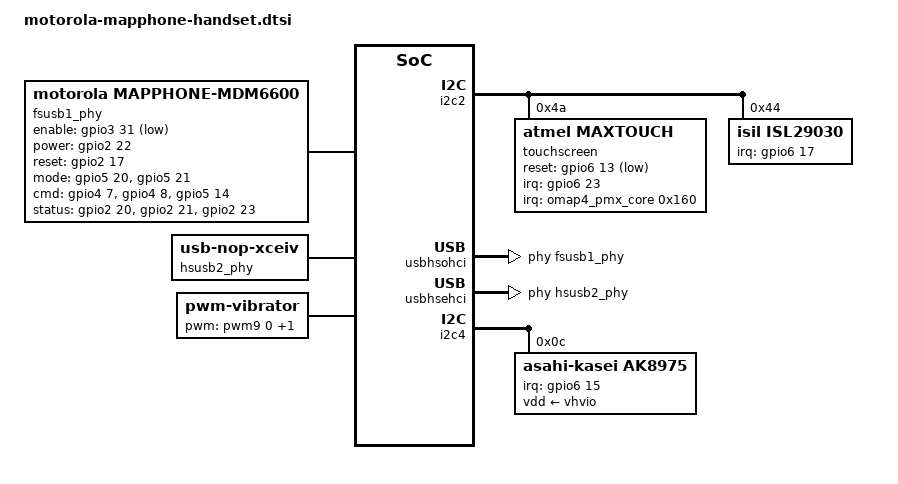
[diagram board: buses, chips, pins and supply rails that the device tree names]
// SPDX-License-Identifier: GPL-2.0-only
/dts-v1/;

#include "motorola-mapphone-common.dtsi"

/ {
	/* FS USB Host PHY on port 1 for mdm6600 */
	fsusb1_phy: usb-phy@1 {
		compatible = "motorola,mapphone-mdm6600";
		pinctrl-0 = <&usb_mdm6600_pins>;
		pinctrl-1 = <&usb_mdm6600_sleep_pins>;
		pinctrl-names = "default", "sleep";
		enable-gpios = <&gpio3 31 GPIO_ACTIVE_LOW>;     /* gpio_95 */
		power-gpios = <&gpio2 22 GPIO_ACTIVE_HIGH>;	/* gpio_54 */
		reset-gpios = <&gpio2 17 GPIO_ACTIVE_HIGH>;	/* gpio_49 */
		/* mode: gpio_148 gpio_149 */
		motorola,mode-gpios = <&gpio5 20 GPIO_ACTIVE_HIGH>,
				      <&gpio5 21 GPIO_ACTIVE_HIGH>;
		/* cmd: gpio_103 gpio_104 gpio_142 */
		motorola,cmd-gpios = <&gpio4 7 GPIO_ACTIVE_HIGH>,
				     <&gpio4 8 GPIO_ACTIVE_HIGH>,
				     <&gpio5 14 GPIO_ACTIVE_HIGH>;
		/* status: gpio_52 gpio_53 gpio_55 */
		motorola,status-gpios = <&gpio2 20 GPIO_ACTIVE_HIGH>,
					<&gpio2 21 GPIO_ACTIVE_HIGH>,
					<&gpio2 23 GPIO_ACTIVE_HIGH>;
		#phy-cells = <0>;
	};

	/* HS USB host TLL nop-phy on port 2 for w3glte */
	hsusb2_phy: usb-phy@2 {
		compatible = "usb-nop-xceiv";
		#phy-cells = <0>;
	};

	pwm8: pwm-8 {
		pinctrl-names = "default";
		pinctrl-0 = <&vibrator_direction_pin>;

		compatible = "ti,omap-dmtimer-pwm";
		#pwm-cells = <3>;
		ti,timers = <&timer8>;
		ti,clock-source = <0x01>;
	};

	pwm9: pwm-9 {
		pinctrl-names = "default";
		pinctrl-0 = <&vibrator_enable_pin>;

		compatible = "ti,omap-dmtimer-pwm";
		#pwm-cells = <3>;
		ti,timers = <&timer9>;
		ti,clock-source = <0x01>;
	};

	vibrator {
		compatible = "pwm-vibrator";
		pwms = <&pwm9 0 10000000 0>, <&pwm8 0 10000000 0>;
		pwm-names = "enable", "direction";
		direction-duty-cycle-ns = <10000000>;
	};
};

/* Battery NVRAM on 1-wire handled by w1_ds250x driver */
&hdqw1w {
	pinctrl-0 = <&hdq_pins>;
	pinctrl-names = "default";
	ti,mode = "1w";
};

&i2c2 {
	touchscreen@4a {
		compatible = "atmel,maxtouch";
		reg = <0x4a>;
		pinctrl-names = "default";
		pinctrl-0 = <&touchscreen_pins>;

		reset-gpios = <&gpio6 13 GPIO_ACTIVE_LOW>; /* gpio173 */

		/* gpio_183 with sys_nirq2 pad as wakeup */
		interrupts-extended = <&gpio6 23 IRQ_TYPE_LEVEL_LOW>,
				      <&omap4_pmx_core 0x160>;
		interrupt-names = "irq", "wakeup";
		wakeup-source;
	};

	isl29030@44 {
		compatible = "isil,isl29030";
		reg = <0x44>;

		pinctrl-names = "default";
		pinctrl-0 = <&als_proximity_pins>;

		interrupt-parent = <&gpio6>;
		interrupts = <17 IRQ_TYPE_LEVEL_LOW>; /* gpio177 */
	};
};

&omap4_pmx_core {
	hdq_pins: hdq-pins {
		pinctrl-single,pins = <
		/* 0x4a100120 hdq_sio.hdq_sio aa27 */
		OMAP4_IOPAD(0x120, PIN_INPUT | MUX_MODE0)
		>;
	};

	/* kpd_row0.gpio_178 */
	tmp105_irq: tmp105-irq-pins {
		pinctrl-single,pins = <
		OMAP4_IOPAD(0x18e, PIN_INPUT_PULLUP | MUX_MODE3)
		>;
	};

	touchscreen_pins: touchscreen-pins {
		pinctrl-single,pins = <
		OMAP4_IOPAD(0x180, PIN_OUTPUT | MUX_MODE3)
		OMAP4_IOPAD(0x1a0, PIN_INPUT_PULLUP | MUX_MODE3)
		>;
	};

	usb_mdm6600_pins: usb-mdm6600-pins {
		pinctrl-single,pins = <
		/* enable 0x4a1000d8 usbb1_ulpitll_dat7.gpio_95 ag16 */
		OMAP4_IOPAD(0x0d8, PIN_INPUT | MUX_MODE3)

		/* power 0x4a10007c gpmc_nwp.gpio_54 c25 */
		OMAP4_IOPAD(0x07c, PIN_OUTPUT | MUX_MODE3)

		/* reset 0x4a100072 gpmc_a25.gpio_49 d20 */
		OMAP4_IOPAD(0x072, PIN_OUTPUT | MUX_MODE3)

		/* mode0/bpwake 0x4a10014e sdmmc5_dat1.gpio_148 af4 */
		OMAP4_IOPAD(0x14e, PIN_OUTPUT | MUX_MODE3)

		/* mode1/apwake 0x4a100150 sdmmc5_dat2.gpio_149 ag3 */
		OMAP4_IOPAD(0x150, PIN_OFF_OUTPUT_LOW | PIN_INPUT | MUX_MODE3)

		/* status0 0x4a10007e gpmc_clk.gpio_55 b22 */
		OMAP4_IOPAD(0x07e, PIN_INPUT | MUX_MODE3)

		/* status1 0x4a10007a gpmc_ncs3.gpio_53 c22 */
		OMAP4_IOPAD(0x07a, PIN_INPUT | MUX_MODE3)

		/* status2 0x4a100078 gpmc_ncs2.gpio_52 d21 */
		OMAP4_IOPAD(0x078, PIN_INPUT | MUX_MODE3)

		/* cmd0 0x4a100094 gpmc_ncs6.gpio_103 c24 */
		OMAP4_IOPAD(0x094, PIN_OUTPUT | MUX_MODE3)

		/* cmd1 0x4a100096 gpmc_ncs7.gpio_104 d24 */
		OMAP4_IOPAD(0x096, PIN_OUTPUT | MUX_MODE3)

		/* cmd2 0x4a100142 uart3_rts_sd.gpio_142 f28 */
		OMAP4_IOPAD(0x142, PIN_OUTPUT | MUX_MODE3)
		>;
	};

	/* Modem sleep pins to keep gpio_49 high with internal pull */
	usb_mdm6600_sleep_pins: usb-mdm6600-sleep-pins {
		pinctrl-single,pins = <
		OMAP4_IOPAD(0x0d8, PIN_INPUT | MUX_MODE3)
		OMAP4_IOPAD(0x07c, PIN_OUTPUT | MUX_MODE3)
		OMAP4_IOPAD(0x072, PIN_INPUT_PULLUP | MUX_MODE7) /* Keep gpio_49 reset high */
		OMAP4_IOPAD(0x14e, PIN_OUTPUT | MUX_MODE3)
		OMAP4_IOPAD(0x150, PIN_OFF_OUTPUT_LOW | PIN_INPUT | MUX_MODE3)
		OMAP4_IOPAD(0x07e, PIN_INPUT | MUX_MODE3)
		OMAP4_IOPAD(0x07a, PIN_INPUT | MUX_MODE3)
		OMAP4_IOPAD(0x078, PIN_INPUT | MUX_MODE3)
		OMAP4_IOPAD(0x094, PIN_OUTPUT | MUX_MODE3)
		OMAP4_IOPAD(0x096, PIN_OUTPUT | MUX_MODE3)
		OMAP4_IOPAD(0x142, PIN_OUTPUT | MUX_MODE3)
		>;
	};

	als_proximity_pins: als-proximity-pins {
		pinctrl-single,pins = <
		OMAP4_IOPAD(0x18c, PIN_INPUT_PULLUP | MUX_MODE3)
		>;
	};

	vibrator_direction_pin: vibrator-direction-pins {
		pinctrl-single,pins = <
		OMAP4_IOPAD(0x1ce, PIN_OUTPUT | MUX_MODE1)	/* dmtimer8_pwm_evt (gpio_27) */
		>;
	};

	vibrator_enable_pin: vibrator-enable-pins {
		pinctrl-single,pins = <
		OMAP4_IOPAD(0X1d0, PIN_OUTPUT | MUX_MODE1)	/* dmtimer9_pwm_evt (gpio_28) */
		>;
	};
};

/* Configure pwm clock source for timers 8 & 9 */
&timer8 {
	assigned-clocks = <&abe_clkctrl OMAP4_TIMER8_CLKCTRL 24>;
	assigned-clock-parents = <&sys_32k_ck>;
};

&timer9 {
	assigned-clocks = <&l4_per_clkctrl OMAP4_TIMER9_CLKCTRL 24>;
	assigned-clock-parents = <&sys_32k_ck>;
};

&usbhsohci {
	phys = <&fsusb1_phy>;
	phy-names = "usb";
};

&usbhsehci {
	phys = <&hsusb2_phy>;
};

&usbhshost {
	port1-mode = "ohci-phy-4pin-dpdm";
	port2-mode = "ehci-tll";
};

&i2c4 {
	ak8975: magnetometer@c {
		compatible = "asahi-kasei,ak8975";
		reg = <0x0c>;

		vdd-supply = <&vhvio>;

		interrupt-parent = <&gpio6>;
		interrupts = <15 IRQ_TYPE_EDGE_RISING>; /* gpio175 */

		rotation-matrix = "-1", "0", "0",
				  "0", "1", "0",
				  "0", "0", "-1";

	};
};
